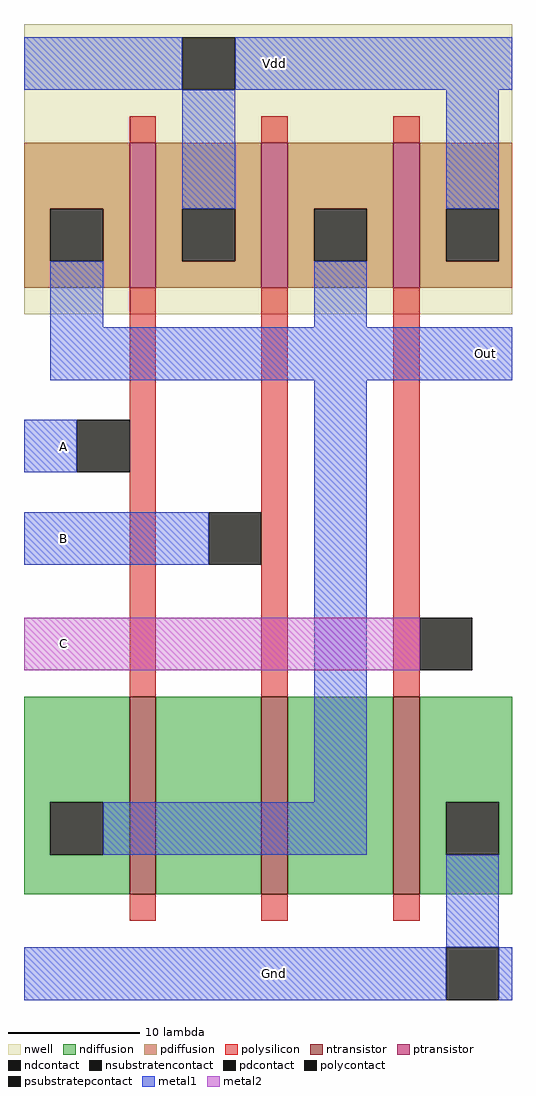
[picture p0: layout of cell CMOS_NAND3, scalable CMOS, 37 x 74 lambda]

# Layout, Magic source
magic
tech scmos
<< nwell >>
rect -9 2 28 24
<< polysilicon >>
rect -1 15 1 17
rect 9 15 11 17
rect 19 15 21 17
rect -1 -27 1 4
rect 9 -27 11 4
rect 19 -27 21 4
rect -1 -44 1 -42
rect 9 -44 11 -42
rect 19 -44 21 -42
<< ndiffusion >>
rect -9 -35 -1 -27
rect -9 -39 -7 -35
rect -3 -39 -1 -35
rect -9 -42 -1 -39
rect 1 -42 9 -27
rect 11 -42 19 -27
rect 21 -35 28 -27
rect 21 -39 23 -35
rect 27 -39 28 -35
rect 21 -42 28 -39
<< pdiffusion >>
rect -9 10 -1 15
rect -9 6 -7 10
rect -3 6 -1 10
rect -9 4 -1 6
rect 1 10 9 15
rect 1 6 3 10
rect 7 6 9 10
rect 1 4 9 6
rect 11 10 19 15
rect 11 6 13 10
rect 17 6 19 10
rect 11 4 19 6
rect 21 10 28 15
rect 21 6 23 10
rect 27 6 28 10
rect 21 4 28 6
<< metal1 >>
rect -9 19 3 23
rect 7 19 28 23
rect 3 10 7 19
rect 23 10 27 19
rect -7 1 -3 6
rect 13 1 17 6
rect -7 -3 28 1
rect -9 -10 -5 -6
rect -9 -17 5 -13
rect 13 -35 17 -3
rect -3 -39 17 -35
rect 23 -46 27 -39
rect -9 -50 23 -46
rect 27 -50 28 -46
<< metal2 >>
rect -9 -25 21 -21
<< ntransistor >>
rect -1 -42 1 -27
rect 9 -42 11 -27
rect 19 -42 21 -27
<< ptransistor >>
rect -1 4 1 15
rect 9 4 11 15
rect 19 4 21 15
<< polycontact >>
rect -5 -10 -1 -6
rect 5 -17 9 -13
rect 21 -25 25 -21
<< ndcontact >>
rect -7 -39 -3 -35
rect 23 -39 27 -35
<< pdcontact >>
rect -7 6 -3 10
rect 3 6 7 10
rect 13 6 17 10
rect 23 6 27 10
<< psubstratepcontact >>
rect 23 -50 27 -46
<< nsubstratencontact >>
rect 3 19 7 23
<< labels >>
rlabel metal1 10 21 10 21 5 Vdd
rlabel metal1 10 -48 10 -48 1 Gnd
rlabel metal1 26 -1 26 -1 7 Out
rlabel metal1 -6 -8 -6 -8 3 A
rlabel metal1 -6 -15 -6 -15 3 B
rlabel metal2 -6 -23 -6 -23 3 C
<< end >>
